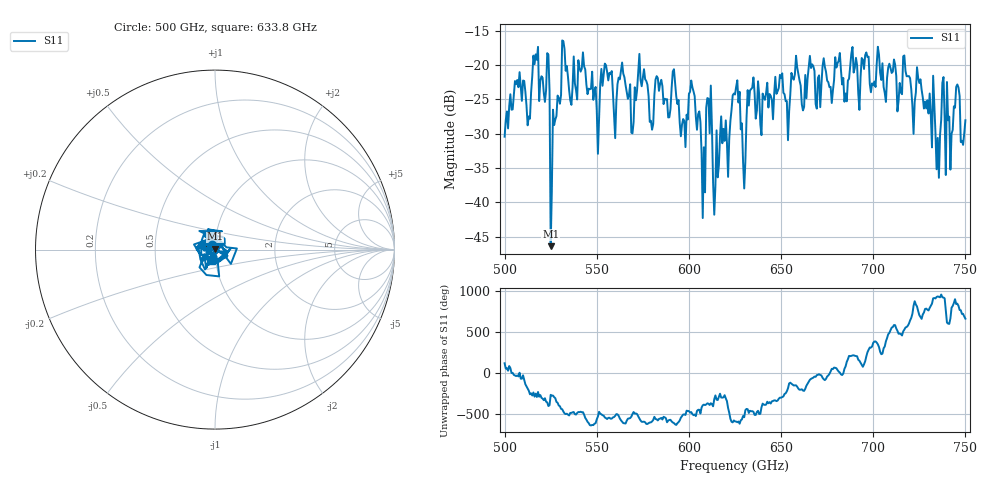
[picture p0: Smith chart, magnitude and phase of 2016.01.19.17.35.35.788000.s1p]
!Created with skrf (http://scikit-rf.org).
# GHz S RI R 50.0
!freq ReS11 ImS11
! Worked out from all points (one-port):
!   401 points, 500 GHz to 750 GHz, reference 50 ohm
!   lowest |S11| = -46.4 dB at 525 GHz (marker M1), VSWR 1.01, Z = 50 + j0.477 ohm
!   |S11| at or under -10 dB: start of sweep to end of sweep
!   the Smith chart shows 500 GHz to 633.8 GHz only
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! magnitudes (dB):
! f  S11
! 500 GHz  -30.4
! 506.9 GHz  -22.2
! 513.1 GHz  -27.5
! 516.9 GHz  -18.4
! 523.1 GHz  -18.3
! 525 GHz  -46.4
! 526.2 GHz  -26.5
! 531.2 GHz  -16.4
! 550 GHz  -26.6
! 562.5 GHz  -22.1
! 570 GHz  -28.3
! 574.4 GHz  -23.1
! 579.4 GHz  -28.1
! 593.8 GHz  -25.7
! 596.9 GHz  -27.9
! 601.9 GHz  -23.2
! 607.5 GHz  -42.3
! 610.6 GHz  -24.9
! 614.4 GHz  -37.6
! 625 GHz  -24.3
! 629.4 GHz  -34.1
! 634.4 GHz  -23.3
! 656.2 GHz  -21.9
! 687.5 GHz  -20.1
! 718.8 GHz  -21.6
! 735 GHz  -30.6
! 745.6 GHz  -22.8
! 750 GHz  -28.0
